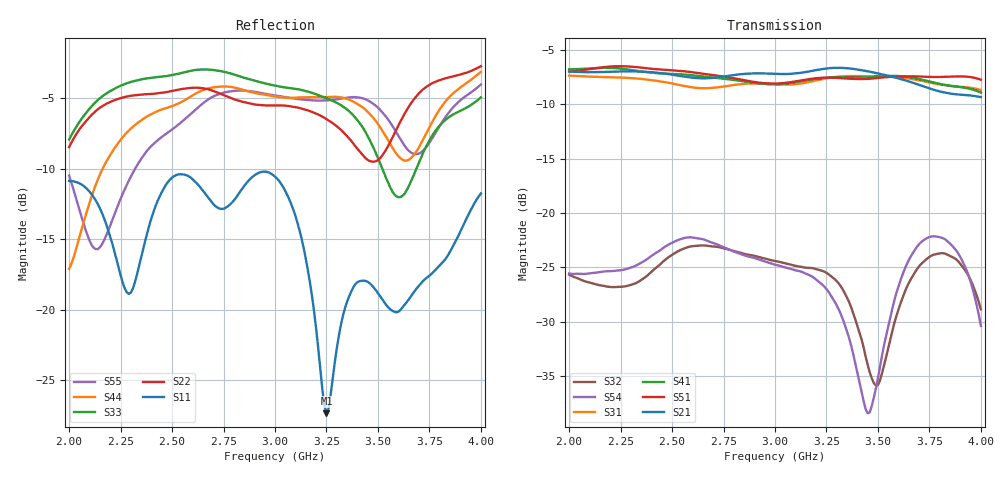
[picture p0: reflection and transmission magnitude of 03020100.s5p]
! Created with skrf 1.8.0 (http://scikit-rf.org).
# Hz S RI R 50.0
!freq ReS11 ImS11 ReS12 ImS12 ReS13 ImS13
! ReS14 ImS14 ReS15 ImS15
! ReS21 ImS21 ReS22 ImS22 ReS23 ImS23
! ReS24 ImS24 ReS25 ImS25
! ReS31 ImS31 ReS32 ImS32 ReS33 ImS33
! ReS34 ImS34 ReS35 ImS35
! ReS41 ImS41 ReS42 ImS42 ReS43 ImS43
! ReS44 ImS44 ReS45 ImS45
! ReS51 ImS51 ReS52 ImS52 ReS53 ImS53
! ReS54 ImS54 ReS55 ImS55
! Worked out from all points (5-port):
!   201 points, 2 GHz to 4 GHz, reference 50 ohm
!   strongest paths, dB at 2 GHz, 2.5 GHz, 3 GHz, 3.5 GHz, 4 GHz:
!     S21: -7.0, -7.3, -7.2, -7.2, -9.3
!     S51: -7.0, -6.9, -8.1, -7.6, -7.7
!     S41: -6.8, -7.2, -8.2, -7.4, -8.9
!     S31: -7.4, -8.1, -8.1, -7.4, -8.7
!     S54: -25.6, -22.7, -24.8, -35.2, -30.4
!     S32: -25.7, -23.8, -24.4, -35.8, -28.8
!   lowest |S11| = -27.3 dB at 3.25 GHz (marker M1), VSWR 1.09, Z = 50.2 + j4.31 ohm
!   |S11| at or under -10 dB: start of sweep to end of sweep
